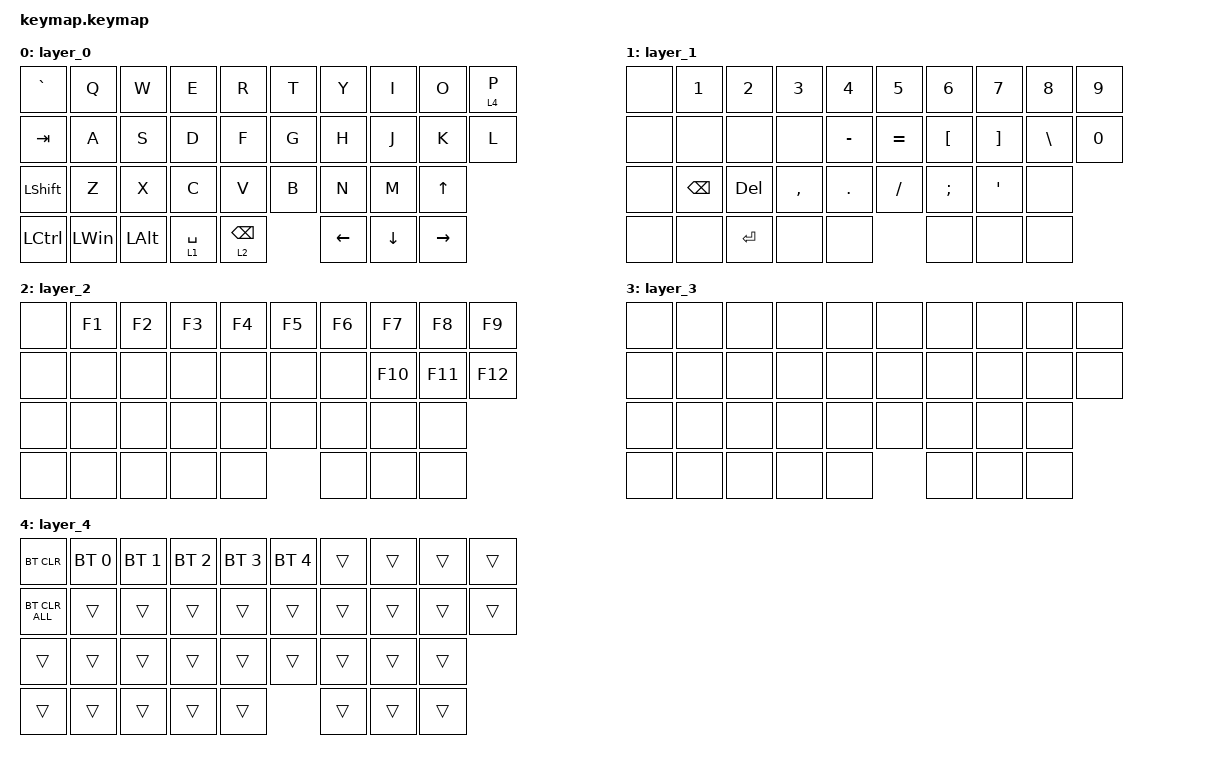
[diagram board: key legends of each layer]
#include <behaviors.dtsi>
#include <dt-bindings/zmk/bt.h>
#include <dt-bindings/zmk/keys.h>

/ {
    keymap {
        compatible = "zmk,keymap";

        layer_0 {
            bindings = <
&kp GRAVE       &kp Q         &kp W         &kp E        &kp R            &kp T  &kp Y     &kp I           &kp O      &lt 4 P
&kp TAB         &kp A         &kp S         &kp D        &kp F            &kp G  &kp H     &kp J           &kp K      &kp L
&kp LEFT_SHIFT  &kp Z         &kp X         &kp C        &kp V            &kp B  &kp N     &kp M           &kp UP
&kp LCTRL       &kp LEFT_WIN  &kp LEFT_ALT  &lt 1 SPACE  &lt 2 BACKSPACE         &kp LEFT  &kp DOWN_ARROW  &kp RIGHT
            >;
        };

        layer_1 {
            bindings = <
&none  &kp N1         &kp N2     &kp N3     &kp N4     &kp N5     &kp N6    &kp N7    &kp N8    &kp N9
&none  &none          &none      &none      &kp MINUS  &kp EQUAL  &kp LBKT  &kp RBKT  &kp BSLH  &kp N0
&none  &kp BACKSPACE  &kp DEL    &kp COMMA  &kp DOT    &kp FSLH   &kp SEMI  &kp SQT   &none
&none  &none          &kp ENTER  &none      &none                 &none     &none     &none
            >;
        };

        layer_2 {
            bindings = <
&none  &kp F1  &kp F2  &kp F3  &kp F4  &kp F5  &kp F6  &kp F7   &kp F8   &kp F9
&none  &none   &none   &none   &none   &none   &none   &kp F10  &kp F11  &kp F12
&none  &none   &none   &none   &none   &none   &none   &none    &none
&none  &none   &none   &none   &none           &none   &none    &none
            >;
        };

        layer_3 {
            bindings = <
&none  &none  &none  &none  &none  &none  &none  &none  &none  &none
&none  &none  &none  &none  &none  &none  &none  &none  &none  &none
&none  &none  &none  &none  &none  &none  &none  &none  &none
&none  &none  &none  &none  &none         &none  &none  &none
            >;
        };

        layer_4 {
            bindings = <
&bt BT_CLR      &bt BT_SEL 0  &bt BT_SEL 1  &bt BT_SEL 2  &bt BT_SEL 3  &bt BT_SEL 4  &trans  &trans  &trans  &trans
&bt BT_CLR_ALL  &trans        &trans        &trans        &trans        &trans        &trans  &trans  &trans  &trans
&trans          &trans        &trans        &trans        &trans        &trans        &trans  &trans  &trans
&trans          &trans        &trans        &trans        &trans                      &trans  &trans  &trans
            >;
        };
    };
};
